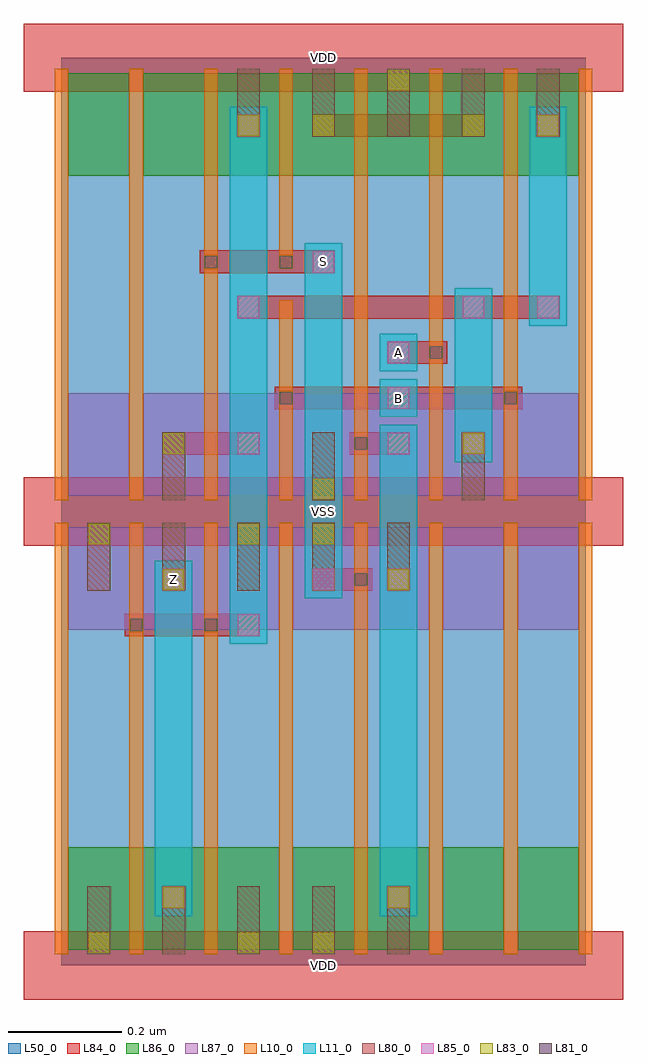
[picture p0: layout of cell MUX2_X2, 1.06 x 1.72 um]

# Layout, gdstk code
import gdstk
lib = gdstk.Library(unit=1e-6, precision=1e-09)
def R(c, l, rs):  # rectangles x0, y0, x1, y1
    for r in rs: c.add(gdstk.rectangle(r[:2], r[2:], *l))
def A(c, l, x, y, w, h, nx, ny, dx, dy):  # array of equal rectangles
    R(c, l, [(x+i*dx, y+j*dy, x+i*dx+w, y+j*dy+h) for i in range(nx) for j in range(ny)])
L10_0 = (10, 0)
L11_0 = (11, 0)
L50_0 = (50, 0)
L80_0 = (80, 0)
L81_0 = (81, 0)
L83_0 = (83, 0)
L84_0 = (84, 0)
L85_0 = (85, 0)
L86_0 = (86, 0)
L87_0 = (87, 0)

mux2_x2 = lib.new_cell('MUX2_X2')
A(mux2_x2, L10_0, -0.012, 0.02, 0.024, 0.76, 8, 1, 0.132, 0)
A(mux2_x2, L10_0, -0.012, 0.82, 0.024, 0.76, 3, 1, 0.132, 0)
A(mux2_x2, L10_0, 0.516, 0.82, 0.024, 0.76, 4, 1, 0.132, 0)
R(mux2_x2, L10_0, [(0.384,0.82,0.408,1.172), (0.384,1.228,0.408,1.58)])
R(mux2_x2, L11_0, [(0.165,0.087,0.231,0.713), (0.561,0.087,0.627,0.953), (0.297,0.567,0.363,1.513), (0.429,0.647,0.495,1.273), (0.693,0.887,0.759,1.193), (0.561,0.967,0.627,1.033), (0.561,1.047,0.627,1.113), (0.825,1.127,0.891,1.513)])
R(mux2_x2, L50_0, [(0,0,0.924,1.6)])
A(mux2_x2, L80_0, 0.046, 0.02, 0.04, 0.12, 5, 2, 0.132, 0.64)
A(mux2_x2, L80_0, 0.178, 0.82, 0.04, 0.12, 3, 1, 0.264, 0)
A(mux2_x2, L80_0, 0.31, 1.46, 0.04, 0.12, 5, 1, 0.132, 0)
R(mux2_x2, L81_0, [(0.121,0.589,0.143,0.611), (0.253,0.589,0.275,0.611), (0.517,0.669,0.539,0.691), (0.517,0.909,0.539,0.931), (0.385,0.989,0.407,1.011), (0.781,0.989,0.803,1.011), (0.649,1.069,0.671,1.091), (0.253,1.229,0.275,1.251), (0.385,1.229,0.407,1.251)])
A(mux2_x2, L83_0, 0.312, 0.022, 0.036, 0.036, 1, 3, 0, 0.72)
R(mux2_x2, L83_0, [(0.048,0.022,0.084,0.058), (0.444,0.022,0.48,0.058), (0.18,0.102,0.216,0.138), (0.576,0.102,0.612,0.138), (0.18,0.662,0.216,0.698), (0.576,0.662,0.612,0.698), (0.048,0.742,0.084,0.778), (0.444,0.742,0.48,0.778), (0.444,0.822,0.48,0.858), (0.18,0.902,0.216,0.938), (0.708,0.902,0.744,0.938), (0.444,1.462,0.48,1.498), (0.708,1.462,0.744,1.498), (0.84,1.462,0.876,1.498), (0.576,1.542,0.612,1.578)])
A(mux2_x2, L84_0, -0.066, -0.06, 1.056, 0.12, 1, 3, 0, 0.8)
R(mux2_x2, L84_0, [(0.178,0.1,0.218,0.14), (0.574,0.1,0.614,0.14), (0.112,0.58,0.35,0.62), (0.178,0.66,0.218,0.7), (0.442,0.66,0.548,0.7), (0.574,0.66,0.614,0.7), (0.178,0.9,0.35,0.94), (0.508,0.9,0.614,0.94), (0.706,0.9,0.746,0.94), (0.376,0.98,0.812,1.02), (0.574,1.06,0.68,1.1), (0.31,1.14,0.878,1.18), (0.244,1.22,0.482,1.26), (0.31,1.46,0.35,1.5), (0.442,1.46,0.746,1.5), (0.838,1.46,0.878,1.5)])
A(mux2_x2, L85_0, 0.575, 0.901, 0.038, 0.038, 1, 3, 0, 0.08)
R(mux2_x2, L85_0, [(0.179,0.101,0.217,0.139), (0.575,0.101,0.613,0.139), (0.311,0.581,0.349,0.619), (0.179,0.661,0.217,0.699), (0.443,0.661,0.481,0.699), (0.575,0.661,0.613,0.699), (0.311,0.901,0.349,0.939), (0.707,0.901,0.745,0.939), (0.311,1.141,0.349,1.179), (0.707,1.141,0.745,1.179), (0.839,1.141,0.877,1.179), (0.443,1.221,0.481,1.259), (0.311,1.461,0.349,1.499), (0.839,1.461,0.877,1.499)])
R(mux2_x2, L86_0, [(0.012,0.028,0.384,0.208), (0.408,0.028,0.648,0.208), (0.672,0.028,0.78,0.208), (0.804,0.028,0.912,0.208), (0.012,1.392,0.12,1.572), (0.144,1.392,0.912,1.572)])
R(mux2_x2, L87_0, [(0.012,0.592,0.384,0.772), (0.408,0.592,0.648,0.772), (0.672,0.592,0.78,0.772), (0.804,0.592,0.912,0.772), (0.012,0.828,0.12,1.008), (0.144,0.828,0.912,1.008)])
mux2_x2.add(gdstk.Label('VDD', (0.462,1.6), layer=88, texttype=0))
mux2_x2.add(gdstk.Label('VDD', (0.462,0), layer=88, texttype=0))
mux2_x2.add(gdstk.Label('VSS', (0.462,0.8), layer=88, texttype=0))
mux2_x2.add(gdstk.Label('S', (0.462,1.24), layer=31, texttype=0))
mux2_x2.add(gdstk.Label('Z', (0.198,0.68), layer=31, texttype=0))
mux2_x2.add(gdstk.Label('B', (0.594,1), layer=31, texttype=0))
mux2_x2.add(gdstk.Label('A', (0.594,1.08), layer=31, texttype=0))

lib.write_gds('MUX2_X2.gds')
